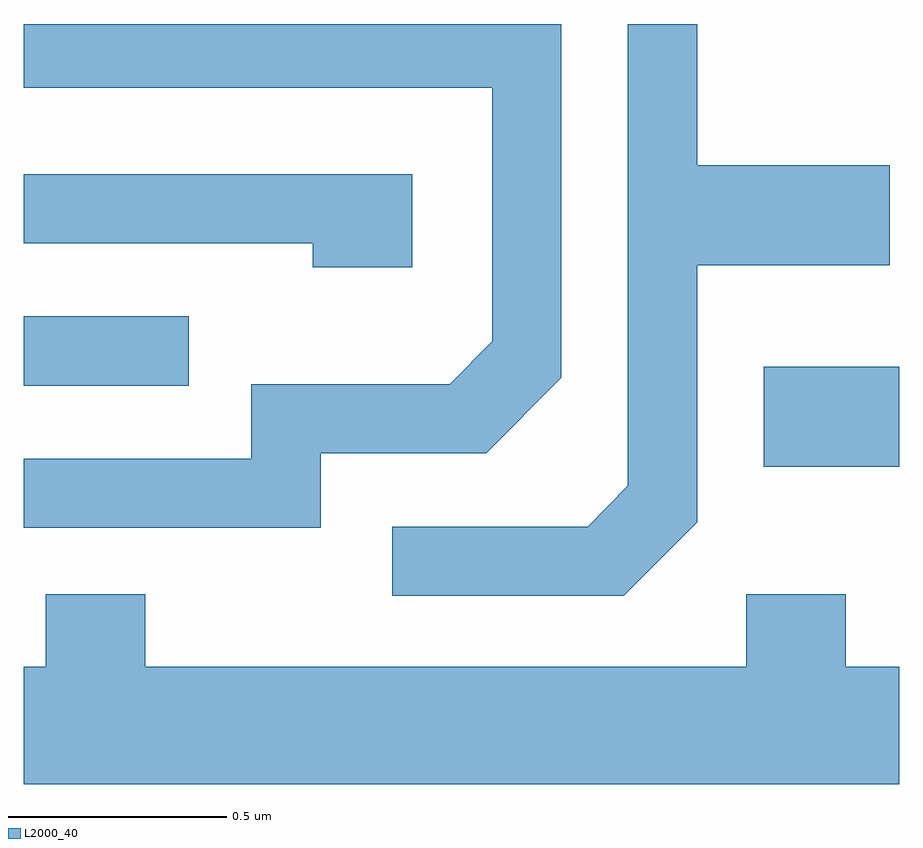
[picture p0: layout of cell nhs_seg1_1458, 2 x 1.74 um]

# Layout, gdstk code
import gdstk
lib = gdstk.Library(unit=1e-6, precision=1e-09)
def R(c, l, rs):  # rectangles x0, y0, x1, y1
    for r in rs: c.add(gdstk.rectangle(r[:2], r[2:], *l))
def P(c, l, *ps):  # polygons
    for p in ps: c.add(gdstk.Polygon(p, *l))
L2000_40 = (2000, 40)

nhs_seg1_1458 = lib.new_cell('nhs_seg1_1458')
R(nhs_seg1_1458, L2000_40, [(197.301,944.701,197.611,944.929), (195.611,944.886,195.988,945.044)])
P(nhs_seg1_1458, L2000_40, [(196.289,944.731),(196.667,944.731),(196.839,944.904),(196.839,945.712),(195.611,945.712),(195.611,945.566),(196.681,945.566),(196.681,944.987),(196.584,944.889),(196.131,944.889),(196.131,944.719),(195.611,944.719),(195.611,944.561),(196.289,944.561)],
  [(197.149,944.574),(197.149,945.161),(197.589,945.161),(197.589,945.389),(197.149,945.389),(197.149,945.712),(196.991,945.712),(196.991,944.657),(196.899,944.564),(196.453,944.564),(196.453,944.406),(196.982,944.406)],
  [(196.499,945.369),(195.611,945.369),(195.611,945.211),(196.271,945.211),(196.271,945.156),(196.499,945.156)],
  [(197.611,944.244),(197.489,944.244),(197.489,944.409),(197.261,944.409),(197.261,944.244),(195.889,944.244),(195.889,944.409),(195.661,944.409),(195.661,944.244),(195.611,944.244),(195.611,943.976),(197.611,943.976)])

lib.write_gds('nhs_seg1_1458.gds')
